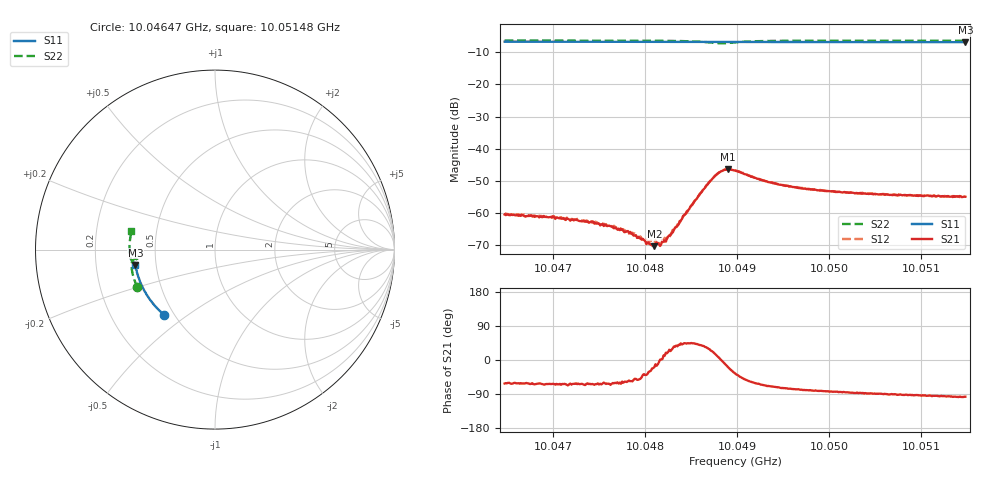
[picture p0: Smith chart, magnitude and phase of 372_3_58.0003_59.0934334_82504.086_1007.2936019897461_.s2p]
#  HZ  S  RI  R  50.00
! Rohde & Schwarz Vector Network Analyzer
! Rohde-Schwarz,ZNB20-2Port,1311601062101988,3.16
! Created: UTC 3/21/2024, 1:06:58 AM
! freq[Hz]  re:S11  im:S11  re:S21  im:S21  re:S12  im:S12  re:S22  im:S22
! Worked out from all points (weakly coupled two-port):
!   401 points, 10.04647 GHz to 10.05148 GHz, reference 50 ohm
!   highest |S21| = -46.37 dB at 10.0489 GHz (marker M1); lowest = -70.3 dB at 10.0481 GHz (marker M2)
!   lowest |S11| = -6.9 dB at 10.05148 GHz (marker M3), VSWR 2.65, Z = 19 - j4.09 ohm
!   |S11| at or under -10 dB: nowhere
!   |S22| runs from -7.2 to -6.4 dB; largest |S21 - S12| = 0.00034
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1.0046474e10  -0.2824 -0.3642  0.000446 -0.000841  0.000517 -0.000797  -0.4324 -0.2106
1.0046986e10  -0.3077 -0.3415  0.00038 -0.000759  0.000455 -0.000761  -0.4455 -0.1786
1.0047312e10  -0.3227 -0.3263  0.000342 -0.000662  0.000369 -0.000664  -0.4526 -0.1575
1.0047599e10  -0.3355 -0.3124  0.000291 -0.000566  0.000341 -0.000567  -0.458 -0.1382
1.0047824e10  -0.3451 -0.3009  0.00029 -0.000402  0.000306 -0.000373  -0.4616 -0.1225
1.0047874e10  -0.3472 -0.2983  0.000273 -0.000354  0.000292 -0.000369  -0.4622 -0.1189
1.0048e10  -0.3524 -0.2919  0.000284 -0.000234  0.000314 -0.000208  -0.4637 -0.1098
1.0048075e10  -0.3554 -0.2879  0.000291 -0.000121  0.000323 -0.000148  -0.4645 -0.1037
1.00481e10  -0.3564 -0.2866  0.000291 -9.8e-05  0.000321 -0.000123  -0.4646 -0.102
1.004815e10  -0.3584 -0.2839  0.000326 -3.19e-05  0.000345 -6.6e-06  -0.4648 -0.0981
1.0048175e10  -0.3594 -0.2827  0.00033 7.83e-06  0.000338 4.8e-05  -0.4652 -0.0962
1.0048225e10  -0.3613 -0.28  0.000341 0.00012  0.000381 0.000133  -0.4652 -0.092
1.0048287e10  -0.3637 -0.2768  0.00043 0.000222  0.000424 0.000264  -0.4651 -0.0866
1.00486e10  -0.3753 -0.2596  0.00158 0.00128  0.0015 0.00139  -0.4557 -0.0579
1.0048737e10  -0.3799 -0.2519  0.0033 0.00126  0.00322 0.00144  -0.4401 -0.0521
1.0048825e10  -0.3828 -0.2471  0.00448 8.37e-06  0.00452 0.000281  -0.4311 -0.0599
1.00489e10  -0.3853 -0.2431  0.00454 -0.00157  0.00465 -0.00128  -0.4334 -0.0701
1.0048975e10  -0.3878 -0.2388  0.00377 -0.00264  0.00394 -0.00242  -0.4427 -0.0748
1.0049363e10  -0.4002 -0.2166  0.00105 -0.00281  0.00124 -0.00274  -0.4706 -0.0472
1.0049813e10  -0.4128 -0.1897  0.000379 -0.00229  0.000512 -0.0023  -0.4762 -0.012
1.0050651e10  -0.4316 -0.1383  -3.03e-05 -0.00191  0.000102 -0.00193  -0.4744 0.0467
1.0051477e10  -0.4438 -0.0856  -0.000216 -0.00179  -0.00013 -0.00181  -0.4654 0.101
